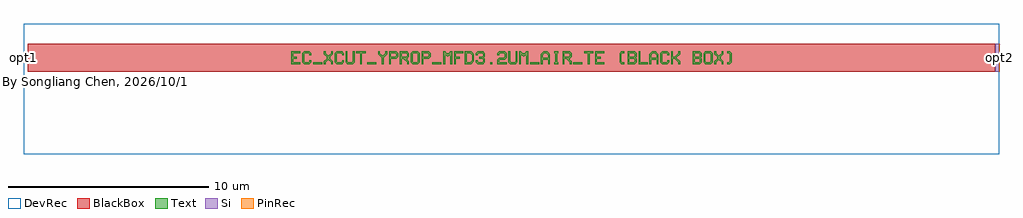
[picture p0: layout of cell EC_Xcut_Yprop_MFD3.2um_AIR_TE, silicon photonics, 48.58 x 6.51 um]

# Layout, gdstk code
import gdstk
lib = gdstk.Library(unit=1e-6, precision=1e-10)
def R(c, l, rs):  # rectangles x0, y0, x1, y1
    for r in rs: c.add(gdstk.rectangle(r[:2], r[2:], *l))
def P(c, l, *ps):  # polygons
    for p in ps: c.add(gdstk.Polygon(p, *l))
Si = (1, 0)
PinRec = (1, 10)
Text = (10, 0)
DevRec = (68, 0)
BlackBox = (998, 0)

text = lib.new_cell('TEXT')
R(text, Text, [(1.08,0,1.53,0.09), (3.78,0,4.23,0.09), (7.02,0,7.47,0.09), (9.9,0,9.99,0.09), (11.88,0,12.33,0.09), (14.04,0,14.49,0.09)])
P(text, Text, [(0,0),(0,0.63),(0.45,0.63),(0.45,0.54),(0.09,0.54),(0.09,0.36),(0.27,0.36),(0.27,0.27),(0.09,0.27),(0.09,0.09),(0.45,0.09),(0.45,0)],
  [(0.63,0),(0.54,0.09),(0.54,0.54),(0.63,0.63),(0.9,0.63),(0.99,0.54),(0.99,0.45),(0.9,0.45),(0.9,0.495),(0.855,0.54),(0.675,0.54),(0.63,0.495),(0.63,0.135),(0.675,0.09),(0.855,0.09),(0.9,0.135),(0.9,0.18),(0.99,0.18),(0.99,0.09),(0.9,0)],
  [(1.62,0),(1.62,0.135),(1.755,0.27),(1.755,0.36),(1.62,0.495),(1.62,0.63),(1.71,0.63),(1.71,0.54),(1.845,0.405),(1.98,0.54),(1.98,0.63),(2.07,0.63),(2.07,0.495),(1.935,0.36),(1.935,0.27),(2.07,0.135),(2.07,0),(1.98,0),(1.98,0.09),(1.845,0.225),(1.71,0.09),(1.71,0)],
  [(2.25,0),(2.16,0.09),(2.16,0.54),(2.25,0.63),(2.52,0.63),(2.61,0.54),(2.61,0.45),(2.52,0.45),(2.52,0.495),(2.475,0.54),(2.295,0.54),(2.25,0.495),(2.25,0.135),(2.295,0.09),(2.475,0.09),(2.52,0.135),(2.52,0.18),(2.61,0.18),(2.61,0.09),(2.52,0)],
  [(2.79,0),(2.7,0.09),(2.7,0.63),(2.79,0.63),(2.79,0.135),(2.835,0.09),(3.015,0.09),(3.06,0.135),(3.06,0.63),(3.15,0.63),(3.15,0.09),(3.06,0)],
  [(3.42,0),(3.42,0.54),(3.24,0.54),(3.24,0.63),(3.69,0.63),(3.69,0.54),(3.51,0.54),(3.51,0)],
  [(4.5,0),(4.5,0.315),(4.32,0.495),(4.32,0.63),(4.41,0.63),(4.41,0.54),(4.545,0.405),(4.68,0.54),(4.68,0.63),(4.77,0.63),(4.77,0.495),(4.59,0.315),(4.59,0)],
  [(4.86,0),(4.86,0.63),(5.22,0.63),(5.31,0.54),(5.31,0.36),(5.22,0.27),(4.95,0.27),(4.95,0.36),(5.175,0.36),(5.22,0.405),(5.22,0.495),(5.175,0.54),(4.95,0.54),(4.95,0)],
  [(5.4,0),(5.4,0.63),(5.76,0.63),(5.85,0.54),(5.49,0.54),(5.49,0.36),(5.715,0.36),(5.76,0.405),(5.76,0.495),(5.715,0.54),(5.85,0.54),(5.85,0.36),(5.76,0.27),(5.76,0.225),(5.85,0.135),(5.85,0),(5.76,0),(5.76,0.09),(5.58,0.27),(5.49,0.27),(5.49,0)],
  [(6.03,0),(5.94,0.09),(5.94,0.54),(6.03,0.63),(6.3,0.63),(6.39,0.54),(6.39,0.315),(6.3,0.315),(6.3,0.495),(6.255,0.54),(6.075,0.54),(6.03,0.495),(6.03,0.135),(6.075,0.09),(6.255,0.09),(6.3,0.135),(6.3,0.315),(6.39,0.315),(6.39,0.09),(6.3,0)],
  [(6.48,0),(6.48,0.63),(6.84,0.63),(6.93,0.54),(6.93,0.36),(6.84,0.27),(6.57,0.27),(6.57,0.36),(6.795,0.36),(6.84,0.405),(6.84,0.495),(6.795,0.54),(6.57,0.54),(6.57,0)],
  [(7.56,0),(7.56,0.63),(7.65,0.63),(7.74,0.54),(7.83,0.54),(7.92,0.63),(8.01,0.63),(8.01,0),(7.92,0),(7.92,0.45),(7.875,0.45),(7.785,0.36),(7.695,0.45),(7.65,0.45),(7.65,0)],
  [(8.1,0),(8.1,0.63),(8.55,0.63),(8.55,0.54),(8.19,0.54),(8.19,0.36),(8.37,0.36),(8.37,0.27),(8.19,0.27),(8.19,0)],
  [(8.64,0),(8.64,0.63),(8.955,0.63),(9.045,0.54),(8.73,0.54),(8.73,0.09),(8.91,0.09),(9,0.18),(9,0.45),(8.91,0.54),(9.045,0.54),(9.09,0.495),(9.09,0.135),(8.955,0)],
  [(9.27,0),(9.18,0.09),(9.18,0.18),(9.27,0.18),(9.27,0.135),(9.315,0.09),(9.495,0.09),(9.54,0.135),(9.54,0.225),(9.495,0.27),(9.36,0.27),(9.36,0.36),(9.495,0.36),(9.54,0.405),(9.54,0.495),(9.495,0.54),(9.315,0.54),(9.27,0.495),(9.27,0.45),(9.18,0.45),(9.18,0.54),(9.27,0.63),(9.54,0.63),(9.63,0.54),(9.63,0.36),(9.585,0.315),(9.63,0.27),(9.63,0.09),(9.54,0)],
  [(10.26,0),(10.26,0.225),(10.35,0.315),(10.575,0.315),(10.62,0.36),(10.62,0.495),(10.575,0.54),(10.395,0.54),(10.35,0.495),(10.35,0.45),(10.26,0.45),(10.26,0.54),(10.35,0.63),(10.62,0.63),(10.71,0.54),(10.71,0.315),(10.62,0.225),(10.395,0.225),(10.35,0.18),(10.35,0.09),(10.71,0.09),(10.71,0)],
  [(10.89,0),(10.8,0.09),(10.8,0.63),(10.89,0.63),(10.89,0.135),(10.935,0.09),(11.115,0.09),(11.16,0.135),(11.16,0.63),(11.25,0.63),(11.25,0.09),(11.16,0)],
  [(11.34,0),(11.34,0.63),(11.43,0.63),(11.52,0.54),(11.61,0.54),(11.7,0.63),(11.79,0.63),(11.79,0),(11.7,0),(11.7,0.45),(11.655,0.45),(11.565,0.36),(11.475,0.45),(11.43,0.45),(11.43,0)],
  [(12.42,0),(12.42,0.495),(12.555,0.63),(12.735,0.63),(12.825,0.54),(12.6,0.54),(12.51,0.45),(12.51,0.315),(12.78,0.315),(12.78,0.45),(12.69,0.54),(12.825,0.54),(12.87,0.495),(12.87,0),(12.78,0),(12.78,0.225),(12.51,0.225),(12.51,0)],
  [(13.095,0),(13.095,0.09),(13.14,0.09),(13.14,0.54),(13.095,0.54),(13.095,0.63),(13.275,0.63),(13.275,0.54),(13.23,0.54),(13.23,0.09),(13.275,0.09),(13.275,0)],
  [(13.5,0),(13.5,0.63),(13.86,0.63),(13.95,0.54),(13.59,0.54),(13.59,0.36),(13.815,0.36),(13.86,0.405),(13.86,0.495),(13.815,0.54),(13.95,0.54),(13.95,0.36),(13.86,0.27),(13.86,0.225),(13.95,0.135),(13.95,0),(13.86,0),(13.86,0.09),(13.68,0.27),(13.59,0.27),(13.59,0)],
  [(14.76,0),(14.76,0.54),(14.58,0.54),(14.58,0.63),(15.03,0.63),(15.03,0.54),(14.85,0.54),(14.85,0)],
  [(15.12,0),(15.12,0.63),(15.57,0.63),(15.57,0.54),(15.21,0.54),(15.21,0.36),(15.39,0.36),(15.39,0.27),(15.21,0.27),(15.21,0.09),(15.57,0.09),(15.57,0)],
  [(16.425,0),(16.335,0.09),(16.335,0.54),(16.425,0.63),(16.56,0.63),(16.56,0.54),(16.47,0.54),(16.425,0.495),(16.425,0.135),(16.47,0.09),(16.56,0.09),(16.56,0)],
  [(16.74,0),(16.74,0.63),(17.1,0.63),(17.19,0.54),(16.83,0.54),(16.83,0.36),(17.055,0.36),(17.1,0.405),(17.1,0.495),(17.055,0.54),(17.19,0.54),(17.19,0.36),(17.145,0.315),(17.19,0.27),(16.83,0.27),(16.83,0.09),(17.055,0.09),(17.1,0.135),(17.1,0.225),(17.055,0.27),(17.19,0.27),(17.19,0.09),(17.1,0)],
  [(17.28,0),(17.28,0.63),(17.37,0.63),(17.37,0.09),(17.73,0.09),(17.73,0)],
  [(17.82,0),(17.82,0.495),(17.955,0.63),(18.135,0.63),(18.225,0.54),(18,0.54),(17.91,0.45),(17.91,0.315),(18.18,0.315),(18.18,0.45),(18.09,0.54),(18.225,0.54),(18.27,0.495),(18.27,0),(18.18,0),(18.18,0.225),(17.91,0.225),(17.91,0)],
  [(18.45,0),(18.36,0.09),(18.36,0.54),(18.45,0.63),(18.72,0.63),(18.81,0.54),(18.81,0.45),(18.72,0.45),(18.72,0.495),(18.675,0.54),(18.495,0.54),(18.45,0.495),(18.45,0.135),(18.495,0.09),(18.675,0.09),(18.72,0.135),(18.72,0.18),(18.81,0.18),(18.81,0.09),(18.72,0)],
  [(18.9,0),(18.9,0.63),(18.99,0.63),(18.99,0.36),(19.08,0.36),(19.26,0.54),(19.26,0.63),(19.35,0.63),(19.35,0.495),(19.17,0.315),(19.35,0.135),(19.35,0),(19.26,0),(19.26,0.09),(19.08,0.27),(18.99,0.27),(18.99,0)],
  [(19.98,0),(19.98,0.63),(20.34,0.63),(20.43,0.54),(20.07,0.54),(20.07,0.36),(20.295,0.36),(20.34,0.405),(20.34,0.495),(20.295,0.54),(20.43,0.54),(20.43,0.36),(20.385,0.315),(20.43,0.27),(20.07,0.27),(20.07,0.09),(20.295,0.09),(20.34,0.135),(20.34,0.225),(20.295,0.27),(20.43,0.27),(20.43,0.09),(20.34,0)],
  [(20.61,0),(20.52,0.09),(20.52,0.54),(20.61,0.63),(20.88,0.63),(20.97,0.54),(20.97,0.315),(20.88,0.315),(20.88,0.495),(20.835,0.54),(20.655,0.54),(20.61,0.495),(20.61,0.135),(20.655,0.09),(20.835,0.09),(20.88,0.135),(20.88,0.315),(20.97,0.315),(20.97,0.09),(20.88,0)],
  [(21.06,0),(21.06,0.135),(21.195,0.27),(21.195,0.36),(21.06,0.495),(21.06,0.63),(21.15,0.63),(21.15,0.54),(21.285,0.405),(21.42,0.54),(21.42,0.63),(21.51,0.63),(21.51,0.495),(21.375,0.36),(21.375,0.27),(21.51,0.135),(21.51,0),(21.42,0),(21.42,0.09),(21.285,0.225),(21.15,0.09),(21.15,0)],
  [(21.69,0),(21.69,0.09),(21.78,0.09),(21.825,0.135),(21.825,0.495),(21.78,0.54),(21.69,0.54),(21.69,0.63),(21.825,0.63),(21.915,0.54),(21.915,0.09),(21.825,0)])

ec_xcut_yprop_mfd3_2um_a = lib.new_cell('EC_Xcut_Yprop_MFD3.2um_AIR_TE')
R(ec_xcut_yprop_mfd3_2um_a, Si, [(24.0824,-0.7,24.2824,0.7), (-24.2824,-0.25,-24.0824,0.25)])
R(ec_xcut_yprop_mfd3_2um_a, DevRec, [(-24.2824,-4.8075,24.2824,1.7)])
R(ec_xcut_yprop_mfd3_2um_a, BlackBox, [(-24.0824,-0.7,24.0824,0.7)])
ec_xcut_yprop_mfd3_2um_a.add(gdstk.FlexPath([(-24.2724,0),(-24.2924,0)], 0.5, ends="flush", simple_path=True, layer=1, datatype=10))  # PinRec
ec_xcut_yprop_mfd3_2um_a.add(gdstk.FlexPath([(24.2724,0),(24.2924,0)], 1.4, ends="flush", simple_path=True, layer=1, datatype=10))  # PinRec
ec_xcut_yprop_mfd3_2um_a.add(gdstk.Reference(text, (-10.9575,-0.315)))
ec_xcut_yprop_mfd3_2um_a.add(gdstk.Label('opt1', (-24.2824,0), layer=1, texttype=10))
ec_xcut_yprop_mfd3_2um_a.add(gdstk.Label('opt2', (24.2824,0), layer=1, texttype=10))
ec_xcut_yprop_mfd3_2um_a.add(gdstk.Label('By Songliang Chen, 2026/10/13', (-23.7824,-1.2), layer=10, texttype=0))

lib.write_gds('EC_Xcut_Yprop_MFD3.2um_AIR_TE.gds')
